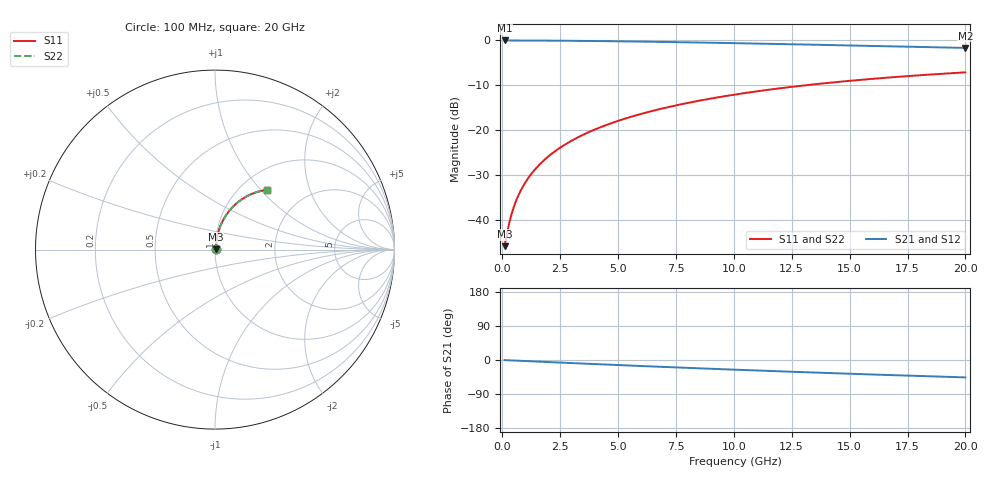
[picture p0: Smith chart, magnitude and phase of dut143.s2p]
! Touchstone file exported from HFSS 2024.1.0
!  File:  C:/UserFiles/LocalFiles/RDL_TSV_Batchsim/temp_RDL_bottom_143_1778697011.aedt
!  Generated:  02:32:48 AM May 14, 2026
!  Design:  RDL_bottom
!  Project:  temp_RDL_bottom_143_1778697011
!  Setup:  Setup1
!  Solution:  Sweep
! Variables:
!  dtsv = 10.80580581um
!  hbump = 3um
!  htsv = 82.24um
!  ldown = 659.49um
!  lrdl = 100um
!  p = 40
!  p1 = 42.71um
!  rhole = 1um
!  t = 450um
!  tdown = 3.57um
!  trdl = 3.915915916um
!  wdown = 15.48um
!  wrdl = 20um
# GHz S MA R 50.000000
! Terminal data exported
! Port[1] = RDL1_T1
! Port[2] = RDL1_T2
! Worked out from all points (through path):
!   200 points, 100 MHz to 20 GHz, reference 50 ohm
!   highest |S21| = -0.04 dB at 100 MHz (marker M1); lowest = -1.7 dB at 20 GHz (marker M2)
!   group delay of S21, straight-line fit = 6.37 ps
!   lowest |S11| = -45.8 dB at 100 MHz (marker M3), VSWR 1.01, Z = 50.4 + j0.275 ohm
!   |S11| at or under -10 dB: start of sweep to 13.12 GHz
!   |S22| runs from -45.8 to -7.1 dB; largest |S21 - S12| = 3e-15
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0.1  0.005119 32.1  0.9957 -0.3  0.9957 -0.3  0.005119 32.1
! Gamma 0 0 0 0
! Port Impedance 50 0 50 0
0.2  0.007009 50.4  0.9955 -0.6  0.9955 -0.6  0.007009 50.4
0.3  0.009264 59.9  0.9954 -0.8  0.9954 -0.8  0.009264 59.9
0.4  0.01163 65.4  0.9952 -1.1  0.9952 -1.1  0.01163 65.4
0.5  0.01404 69.0  0.995 -1.4  0.995 -1.4  0.01404 69.0
0.6  0.01646 71.6  0.9948 -1.7  0.9948 -1.7  0.01646 71.6
0.8  0.02135 74.9  0.9944 -2.2  0.9944 -2.2  0.02135 74.9
1.1  0.02876 77.6  0.9938 -3.0  0.9938 -3.0  0.02876 77.6
1.3  0.03374 78.7  0.9934 -3.6  0.9934 -3.6  0.03374 78.7
1.6  0.04124 79.6  0.9926 -4.4  0.9926 -4.4  0.04124 79.6
2.1  0.0538 80.3  0.991 -5.7  0.991 -5.7  0.0538 80.3
2.7  0.06892 80.3  0.9885 -7.3  0.9885 -7.3  0.06893 80.3
3.5  0.08911 79.7  0.9845 -9.5  0.9845 -9.5  0.08911 79.7
4.2  0.1067 78.8  0.9803 -11.3  0.9803 -11.3  0.1067 78.8
5  0.1268 77.6  0.9748 -13.4  0.9748 -13.4  0.1268 77.6
5.9  0.1493 76.1  0.9679 -15.6  0.9679 -15.6  0.1493 76.1
6.8  0.1715 74.5  0.9603 -17.9  0.9603 -17.9  0.1716 74.5
8.4  0.2103 71.4  0.9455 -21.7  0.9455 -21.7  0.2104 71.5
10.1  0.2502 68.1  0.9285 -25.7  0.9285 -25.7  0.2502 68.1
13.4  0.3221 61.5  0.8935 -33.0  0.8935 -33.0  0.3222 61.5
16.7  0.3854 55.1  0.8576 -39.7  0.8576 -39.7  0.3855 55.1
20  0.4396 49.1  0.8225 -45.9  0.8225 -45.9  0.4397 49.1
